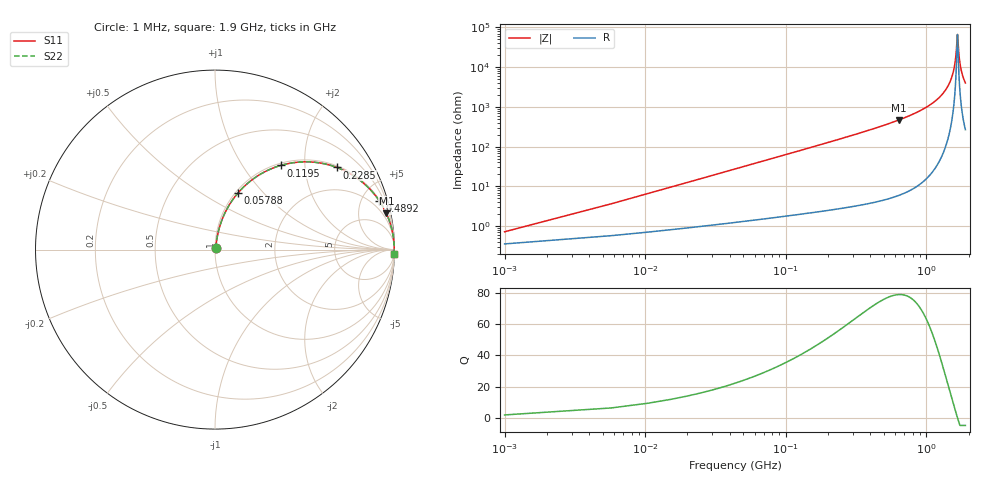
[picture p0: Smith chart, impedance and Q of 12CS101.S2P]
! Coilcraft 1206CS-101 Chip Inductor
! 29 July 2002
# MHZ S MA R 50
!Freq  MagS11  AngS11  MagS21  AngS21  MagS12  AngS12  MagS22  AngS22
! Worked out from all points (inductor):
!   402 points, 1 MHz to 1.9 GHz, reference 50 ohm
!   read as one part in series: L = 100 nH near 10.48 MHz
!   highest Q = 79.1 at 640.9 MHz (marker M1), where L = 117 nH
!   self-resonance near 1.665 GHz
!   S11 on the Smith chart (normalised r, x): 1 MHz: 1.01, +0.01; 57.88 MHz: 1.03, +0.73; 119.5 MHz: 1.04, +1.51; 228.5 MHz: 1.05, +2.93; 489.2 MHz: 1.09, +6.73; 1.9 GHz: 6, -80
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1  0.007201 60.0  0.9964 -0.4  0.9964 -0.4  0.007201 60.0
15.22  0.09478 79.7  0.9875 -5.4  0.9875 -5.4  0.09478 79.7
19.96  0.1237 78.8  0.9835 -7.1  0.9835 -7.1  0.1237 78.8
34.18  0.2081 75.0  0.9673 -12.0  0.9673 -12.0  0.2081 75.0
57.88  0.3382 68.0  0.9282 -19.8  0.9282 -19.8  0.3382 68.0
119.5  0.5952 52.0  0.7884 -36.5  0.7884 -36.5  0.5952 52.0
228.52  0.8187 34.0  0.5594 -54.9  0.5594 -54.9  0.8187 34.0
318.58  0.8956 25.5  0.4311 -63.6  0.4311 -63.6  0.8956 25.5
489.22  0.9551 16.5  0.284 -72.7  0.284 -72.7  0.9551 16.5
636.16  0.9754 12.0  0.2085 -77.2  0.2085 -77.2  0.9754 12.0
640.9  0.9758 11.9  0.2066 -77.4  0.2066 -77.4  0.9758 11.9
953.74  0.9921 6.4  0.1115 -82.7  0.1115 -82.7  0.9921 6.4
1271.32  0.9972 3.0  0.05237 -85.5  0.05237 -85.5  0.9972 3.0
1465.66  0.9983 1.4  0.02479 -85.3  0.02479 -85.3  0.9983 1.4
1584.16  0.9985 0.6  0.009983 -81.1  0.009983 -81.1  0.9985 0.6
1622.08  0.9985 0.3  0.005565 -74.4  0.005565 -74.4  0.9985 0.3
1660  0.9985 0.1  0.001773 -33.0  0.001773 -33.0  0.9985 0.1
1669.48  0.9985 -0.0  0.001497 4.5  0.001497 4.5  0.9985 -0.0
1712.14  0.9985 -0.3  0.005153 72.6  0.005153 72.6  0.9985 -0.3
1750.06  0.9984 -0.5  0.009229 79.9  0.009229 79.9  0.9984 -0.5
1811.68  0.9983 -0.9  0.01578 83.3  0.01578 83.3  0.9983 -0.9
1900  0.998 -1.4  0.02487 84.8  0.02487 84.8  0.998 -1.4
